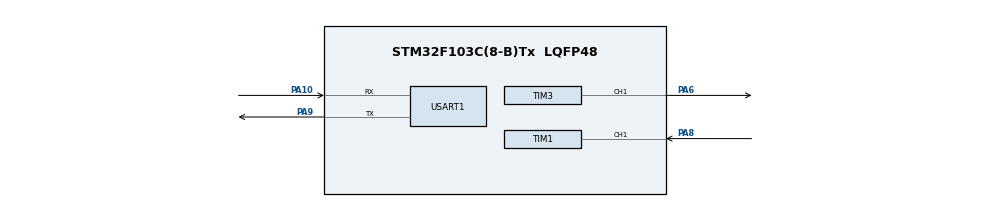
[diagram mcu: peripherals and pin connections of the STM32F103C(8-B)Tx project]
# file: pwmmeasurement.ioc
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Mcu.Family=STM32F1
Mcu.Name=STM32F103C(8-B)Tx
Mcu.Package=LQFP48
NVIC.PriorityGroup=NVIC_PRIORITYGROUP_4
PA10.Mode=Asynchronous
PA10.Signal=USART1_RX
PA13.Mode=Serial_Wire
PA13.Signal=SYS_JTMS-SWDIO
PA14.Mode=Serial_Wire
PA14.Signal=SYS_JTCK-SWCLK
PA6.Signal=S_TIM3_CH1
PA8.Signal=S_TIM1_CH1
PA9.Mode=Asynchronous
PA9.Signal=USART1_TX
ProjectManager.HeapSize=0x200
ProjectManager.StackSize=0x400
ProjectManager.TargetToolchain=MDK-ARM V5.32
RCC.APB1Freq_Value=8000000
RCC.APB2Freq_Value=8000000
SH.S_TIM1_CH1.0=TIM1_CH1,Input_Capture1_from_TI1
SH.S_TIM1_CH1.1=TIM1_CH1,TriggerSource_TI1FP1
SH.S_TIM3_CH1.0=TIM3_CH1,PWM Generation1 CH1
TIM1.AutoReloadPreload=TIM_AUTORELOAD_PRELOAD_ENABLE
TIM1.Channel-Input_Capture1_from_TI1=TIM_CHANNEL_1
TIM1.Channel-Input_Capture2_from_TI1_63=TIM_CHANNEL_2
TIM1.ICPolarity_CH2=TIM_INPUTCHANNELPOLARITY_FALLING
TIM1.Prescaler=7
TIM3.AutoReloadPreload=TIM_AUTORELOAD_PRELOAD_ENABLE
TIM3.Channel-PWM\ Generation1\ CH1=TIM_CHANNEL_1
TIM3.Period=999
TIM3.Prescaler=7
TIM3.Pulse-PWM\ Generation1\ CH1=200
USART1.VirtualMode=VM_ASYNC
VP_TIM1_VS_ClockSourceINT.Mode=Internal
VP_TIM1_VS_ControllerModeReset.Mode=Reset Mode
VP_TIM1_VS_indirect_ch1.Mode=Input_Capture2_from_TI1_63
VP_TIM3_VS_ClockSourceINT.Mode=Internal
board=custom

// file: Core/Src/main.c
/* USER CODE BEGIN Header */
/**
  ******************************************************************************
  * @file           : main.c
  * @brief          : Main program body
  ******************************************************************************
  * @attention
  *
  * Copyright (c) 2026 STMicroelectronics.
  * All rights reserved.
  *
  * This software is licensed under terms that can be found in the LICENSE file
  * in the root directory of this software component.
  * If no LICENSE file comes with this software, it is provided AS-IS.
  *
  ******************************************************************************
  */
/* USER CODE END Header */
#include "main.h"

TIM_HandleTypeDef htim1;
TIM_HandleTypeDef htim3;

UART_HandleTypeDef huart1;

void SystemClock_Config(void);
static void MX_GPIO_Init(void);
static void MX_USART1_UART_Init(void);
static void MX_TIM3_Init(void);
static void MX_TIM1_Init(void);

/* USER CODE BEGIN 0 */
#include <stdarg.h>//临时编程接口
#include <stdio.h>
#include <string.h>

static void UART_Printf(const char *format, ...)
{
	char tmp[128];

	va_list argptr;
	va_start(argptr, format);
	vsprintf((char* )tmp, format, argptr);
	va_end(argptr);

	HAL_UART_Transmit(&huart1, (const uint8_t *)&tmp, strlen(tmp), HAL_MAX_DELAY);
}
/* USER CODE END 0 */

int main(void)
{

  /* MCU Configuration--------------------------------------------------------*/

  /* Reset of all peripherals, Initializes the Flash interface and the Systick. */
  HAL_Init();

  /* Configure the system clock */
  SystemClock_Config();

  /* Initialize all configured peripherals */
  MX_GPIO_Init();
  MX_USART1_UART_Init();
  MX_TIM3_Init();
  MX_TIM1_Init();
  /* USER CODE BEGIN 2 */
//HAL_UART_Transmit(&huart1,( uint8_t *)"helloworld",10,HAL_MAX_DELAY);
HAL_TIM_PWM_Start(&htim3,TIM_CHANNEL_1);

  /* USER CODE END 2 */

  /* Infinite loop */
  /* USER CODE BEGIN WHILE */
  while (1)
  {
		__HAL_TIM_CLEAR_FLAG(&htim1,TIM_FLAG_CC1);//清楚cc1标志�?

		HAL_TIM_IC_Start(&htim1,TIM_CHANNEL_1);//启动定时�?
		HAL_TIM_IC_Start(&htim1,TIM_CHANNEL_2);

		while(__HAL_TIM_GET_FLAG(&htim1,TIM_FLAG_CC1) == 0);//等待cc1标志位并再次清除
		__HAL_TIM_CLEAR_FLAG(&htim1,TIM_FLAG_CC1);

		while(__HAL_TIM_GET_FLAG(&htim1,TIM_FLAG_CC1) == 0);//再次等待cc1标志�?

		HAL_TIM_IC_Stop(&htim1,TIM_CHANNEL_1);//停止定时�?
		HAL_TIM_IC_Stop(&htim1,TIM_CHANNEL_2);

		uint16_t ccr1 = __HAL_TIM_GET_COMPARE(&htim1,TIM_CHANNEL_1);//计算结果
		uint16_t ccr2 = __HAL_TIM_GET_COMPARE(&htim1,TIM_CHANNEL_2);

		float period = ccr1 * 1e-6f;
		float pulsewidth = ccr2 * 1e-6f;
		float duty = pulsewidth/period ;

		UART_Printf("脉宽 = %.1fus,脉宽 = %.1fus,脉宽 = %.1f%%",pulsewidth*1e6f,period*1e6f,duty*100);//串口
		HAL_Delay(1000);

    /* USER CODE END WHILE */

  }
}

void SystemClock_Config(void)
{
  RCC_OscInitTypeDef RCC_OscInitStruct = {0};
  RCC_ClkInitTypeDef RCC_ClkInitStruct = {0};

  /** Initializes the RCC Oscillators according to the specified parameters
  * in the RCC_OscInitTypeDef structure.
  */
  RCC_OscInitStruct.OscillatorType = RCC_OSCILLATORTYPE_HSI;
  RCC_OscInitStruct.HSIState = RCC_HSI_ON;
  RCC_OscInitStruct.HSICalibrationValue = RCC_HSICALIBRATION_DEFAULT;
  RCC_OscInitStruct.PLL.PLLState = RCC_PLL_NONE;
  if (HAL_RCC_OscConfig(&RCC_OscInitStruct) != HAL_OK)
  {
    Error_Handler();
  }

  /** Initializes the CPU, AHB and APB buses clocks
  */
  RCC_ClkInitStruct.ClockType = RCC_CLOCKTYPE_HCLK|RCC_CLOCKTYPE_SYSCLK
                              |RCC_CLOCKTYPE_PCLK1|RCC_CLOCKTYPE_PCLK2;
  RCC_ClkInitStruct.SYSCLKSource = RCC_SYSCLKSOURCE_HSI;
  RCC_ClkInitStruct.AHBCLKDivider = RCC_SYSCLK_DIV1;
  RCC_ClkInitStruct.APB1CLKDivider = RCC_HCLK_DIV1;
  RCC_ClkInitStruct.APB2CLKDivider = RCC_HCLK_DIV1;

  if (HAL_RCC_ClockConfig(&RCC_ClkInitStruct, FLASH_LATENCY_0) != HAL_OK)
  {
    Error_Handler();
  }
}

static void MX_TIM1_Init(void)
{

  TIM_ClockConfigTypeDef sClockSourceConfig = {0};
  TIM_SlaveConfigTypeDef sSlaveConfig = {0};
  TIM_MasterConfigTypeDef sMasterConfig = {0};
  TIM_IC_InitTypeDef sConfigIC = {0};

  htim1.Instance = TIM1;
  htim1.Init.Prescaler = 7;
  htim1.Init.CounterMode = TIM_COUNTERMODE_UP;
  htim1.Init.Period = 65535;
  htim1.Init.ClockDivision = TIM_CLOCKDIVISION_DIV1;
  htim1.Init.RepetitionCounter = 0;
  htim1.Init.AutoReloadPreload = TIM_AUTORELOAD_PRELOAD_ENABLE;
  if (HAL_TIM_Base_Init(&htim1) != HAL_OK)
  {
    Error_Handler();
  }
  sClockSourceConfig.ClockSource = TIM_CLOCKSOURCE_INTERNAL;
  if (HAL_TIM_ConfigClockSource(&htim1, &sClockSourceConfig) != HAL_OK)
  {
    Error_Handler();
  }
  if (HAL_TIM_IC_Init(&htim1) != HAL_OK)
  {
    Error_Handler();
  }
  sSlaveConfig.SlaveMode = TIM_SLAVEMODE_RESET;
  sSlaveConfig.InputTrigger = TIM_TS_TI1FP1;
  sSlaveConfig.TriggerPolarity = TIM_INPUTCHANNELPOLARITY_RISING;
  sSlaveConfig.TriggerFilter = 0;
  if (HAL_TIM_SlaveConfigSynchro(&htim1, &sSlaveConfig) != HAL_OK)
  {
    Error_Handler();
  }
  sMasterConfig.MasterOutputTrigger = TIM_TRGO_RESET;
  sMasterConfig.MasterSlaveMode = TIM_MASTERSLAVEMODE_DISABLE;
  if (HAL_TIMEx_MasterConfigSynchronization(&htim1, &sMasterConfig) != HAL_OK)
  {
    Error_Handler();
  }
  sConfigIC.ICPolarity = TIM_INPUTCHANNELPOLARITY_RISING;
  sConfigIC.ICSelection = TIM_ICSELECTION_DIRECTTI;
  sConfigIC.ICPrescaler = TIM_ICPSC_DIV1;
  sConfigIC.ICFilter = 0;
  if (HAL_TIM_IC_ConfigChannel(&htim1, &sConfigIC, TIM_CHANNEL_1) != HAL_OK)
  {
    Error_Handler();
  }
  sConfigIC.ICPolarity = TIM_INPUTCHANNELPOLARITY_FALLING;
  sConfigIC.ICSelection = TIM_ICSELECTION_INDIRECTTI;
  if (HAL_TIM_IC_ConfigChannel(&htim1, &sConfigIC, TIM_CHANNEL_2) != HAL_OK)
  {
    Error_Handler();
  }

}

static void MX_TIM3_Init(void)
{

  TIM_ClockConfigTypeDef sClockSourceConfig = {0};
  TIM_MasterConfigTypeDef sMasterConfig = {0};
  TIM_OC_InitTypeDef sConfigOC = {0};

  htim3.Instance = TIM3;
  htim3.Init.Prescaler = 7;
  htim3.Init.CounterMode = TIM_COUNTERMODE_UP;
  htim3.Init.Period = 999;
  htim3.Init.ClockDivision = TIM_CLOCKDIVISION_DIV1;
  htim3.Init.AutoReloadPreload = TIM_AUTORELOAD_PRELOAD_ENABLE;
  if (HAL_TIM_Base_Init(&htim3) != HAL_OK)
  {
    Error_Handler();
  }
  sClockSourceConfig.ClockSource = TIM_CLOCKSOURCE_INTERNAL;
  if (HAL_TIM_ConfigClockSource(&htim3, &sClockSourceConfig) != HAL_OK)
  {
    Error_Handler();
  }
  if (HAL_TIM_PWM_Init(&htim3) != HAL_OK)
  {
    Error_Handler();
  }
  sMasterConfig.MasterOutputTrigger = TIM_TRGO_RESET;
  sMasterConfig.MasterSlaveMode = TIM_MASTERSLAVEMODE_DISABLE;
  if (HAL_TIMEx_MasterConfigSynchronization(&htim3, &sMasterConfig) != HAL_OK)
  {
    Error_Handler();
  }
  sConfigOC.OCMode = TIM_OCMODE_PWM1;
  sConfigOC.Pulse = 200;
  sConfigOC.OCPolarity = TIM_OCPOLARITY_HIGH;
  sConfigOC.OCFastMode = TIM_OCFAST_DISABLE;
  if (HAL_TIM_PWM_ConfigChannel(&htim3, &sConfigOC, TIM_CHANNEL_1) != HAL_OK)
  {
    Error_Handler();
  }
  HAL_TIM_MspPostInit(&htim3);

}

static void MX_USART1_UART_Init(void)
{

  huart1.Instance = USART1;
  huart1.Init.BaudRate = 115200;
  huart1.Init.WordLength = UART_WORDLENGTH_8B;
  huart1.Init.StopBits = UART_STOPBITS_1;
  huart1.Init.Parity = UART_PARITY_NONE;
  huart1.Init.Mode = UART_MODE_TX_RX;
  huart1.Init.HwFlowCtl = UART_HWCONTROL_NONE;
  huart1.Init.OverSampling = UART_OVERSAMPLING_16;
  if (HAL_UART_Init(&huart1) != HAL_OK)
  {
    Error_Handler();
  }

}

static void MX_GPIO_Init(void)
{

  /* GPIO Ports Clock Enable */
  __HAL_RCC_GPIOA_CLK_ENABLE();

}

void Error_Handler(void)
{
  __disable_irq();
  while (1)
  {
  }
}
